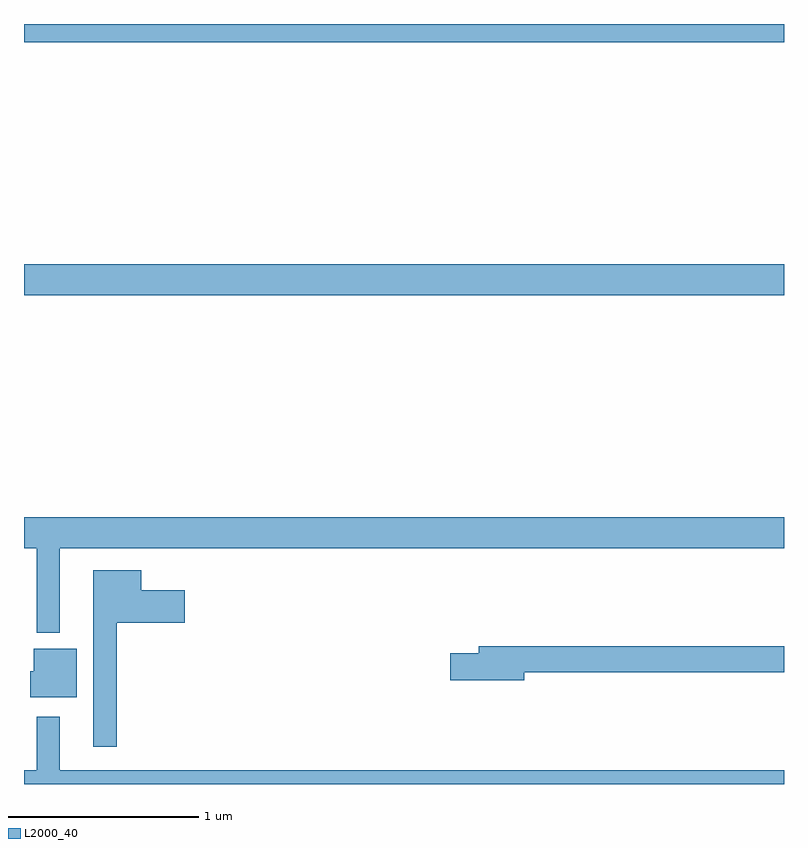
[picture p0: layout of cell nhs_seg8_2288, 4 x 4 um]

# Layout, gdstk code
import gdstk
lib = gdstk.Library(unit=1e-6, precision=1e-09)
def R(c, l, rs):  # rectangles x0, y0, x1, y1
    for r in rs: c.add(gdstk.rectangle(r[:2], r[2:], *l))
def P(c, l, *ps):  # polygons
    for p in ps: c.add(gdstk.Polygon(p, *l))
L2000_40 = (2000, 40)

nhs_seg8_2288 = lib.new_cell('nhs_seg8_2288')
R(nhs_seg8_2288, L2000_40, [(255,1144.472,259,1144.636), (255,1145.804,259,1145.9)])
P(nhs_seg8_2288, L2000_40, [(255.187,1143.14),(259,1143.14),(259,1143.304),(255,1143.304),(255,1143.14),(255.066,1143.14),(255.066,1142.696),(255.187,1142.696)],
  [(255.487,1142.75),(255.847,1142.75),(255.847,1142.92),(255.616,1142.92),(255.616,1143.025),(255.365,1143.025),(255.365,1142.097),(255.487,1142.097)],
  [(257.632,1142.488),(259,1142.488),(259,1142.624),(257.393,1142.624),(257.393,1142.588),(257.244,1142.588),(257.244,1142.446),(257.632,1142.446)],
  [(255.277,1142.611),(255.05,1142.611),(255.05,1142.493),(255.032,1142.493),(255.032,1142.357),(255.277,1142.357)],
  [(259,1141.972),(255.187,1141.972),(255.187,1142.254),(255.066,1142.254),(255.066,1141.972),(255,1141.972),(255,1141.9),(259,1141.9)])

lib.write_gds('nhs_seg8_2288.gds')
